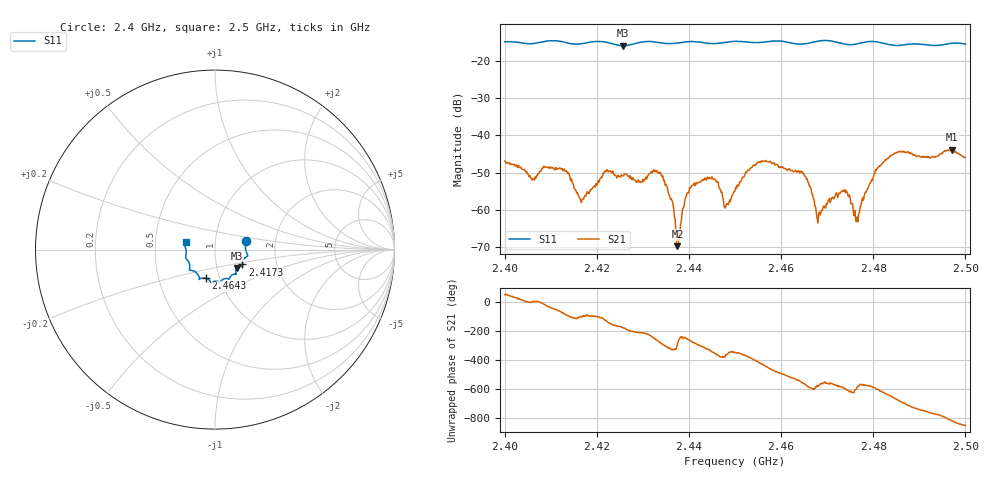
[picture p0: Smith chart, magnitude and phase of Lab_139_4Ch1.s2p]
# Hz S RI R 50
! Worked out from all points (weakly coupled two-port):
!   601 points, 2.4 GHz to 2.5 GHz, reference 50 ohm
!   highest |S21| = -43.78 dB at 2.4972 GHz (marker M1); lowest = -69.7 dB at 2.4375 GHz (marker M2)
!   lowest |S11| = -15.9 dB at 2.4257 GHz (marker M3), VSWR 1.38, Z = 62.4 - j13.1 ohm
!   |S11| at or under -10 dB: start of sweep to end of sweep
!   S12 and S22 are empty: the file has one direction only
!   S11 on the Smith chart (normalised r, x): 2.4 GHz: 1.41, +0.14; 2.4173 GHz: 1.34, -0.23; 2.4643 GHz: 0.86, -0.28; 2.5 GHz: 0.72, +0.06
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2.4e9  0.1735 0.0493  0.00283 0.0035  0 0  0 0
2.413e9  0.1734 -0.0406  0.000526 -0.00347  0 0  0 0
2.416667e9  0.1525 -0.075  -0.0003 -0.00122  0 0  0 0
2.417333e9  0.1519 -0.0825  -0.000191 -0.00154  0 0  0 0
2.421833e9  0.1524 -0.0945  -0.00202 -0.00266  0 0  0 0
2.425667e9  0.1224 -0.1026  -0.00286 -2.59e-05  0 0  0 0
2.433333e9  0.1124 -0.1366  8.72e-05 0.00314  0 0  0 0
2.436167e9  0.0926 -0.1436  0.0012 0.000755  0 0  0 0
2.4375e9  0.0847 -0.1516  0.000121 0.000304  0 0  0 0
2.440667e9  0.0787 -0.1643  0.000227 0.00213  0 0  0 0
2.445333e9  0.0525 -0.1624  0.00259 0.000444  0 0  0 0
2.448167e9  0.0345 -0.1747  0.0012 -0.000121  0 0  0 0
2.45e9  0.0294 -0.1808  0.00178 0.00029  0 0  0 0
2.4555e9  -0.00285 -0.177  0.0019 -0.00407  0 0  0 0
2.464333e9  -0.0502 -0.1604  -0.00316 0.000798  0 0  0 0
2.466667e9  -0.0762 -0.1594  -0.00087 0.0014  0 0  0 0
2.468167e9  -0.0855 -0.1644  -0.00068 0.000563  0 0  0 0
2.473833e9  -0.0963 -0.1379  -0.000927 0.00163  0 0  0 0
2.476333e9  -0.1201 -0.1182  -0.000318 0.000618  0 0  0 0
2.483333e9  -0.1401 -0.0894  0.00119 0.00482  0 0  0 0
2.497167e9  -0.1704 0.0275  -0.00166 -0.00625  0 0  0 0
2.5e9  -0.1633 0.0417  -0.00361 -0.00362  0 0  0 0
